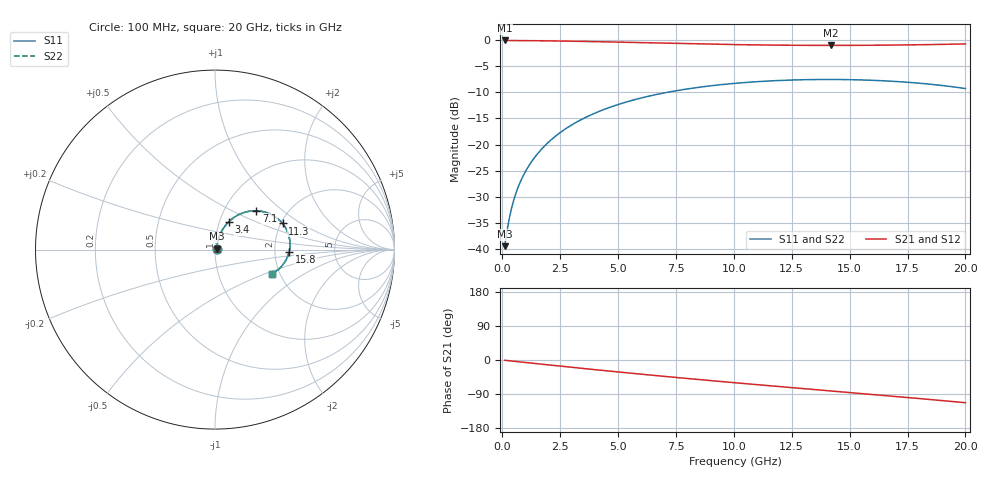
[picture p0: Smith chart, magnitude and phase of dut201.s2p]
! Touchstone file exported from HFSS 2026.1.0
!  File:  C:/ffzhzh/LocalFiles/Ansys_Project_Files/temp_train_TSV_RDL_201_1783060238_18316.aedt
!  Generated:  02:41:34 PM Jul  3, 2026
!  Design:  TSV_RDL
!  Project:  temp_train_TSV_RDL_201_1783060238_18316
! Variables:
!  h_bsmrdl = 3.1um
!  h_ox = 20um
!  h_rdl = 5um
!  h_sub = 96.69um
!  h_tmrdl = 3.95um
!  h_tsv = 96.69um
!  h_via = 3um
!  l_bsmrdl = 175.12um
!  l_sub = 1533.76um
!  l_tmrdl = 129.42um
!  m_sub = 200um
!  pitch = 57.72um
!  r_tsv = 14.91um
!  s_tmrdl = 10um
!  w_bsmrdl = 20.18um
!  w_sub = 500um
!  w_tmrdl = 10.06um
!  x_tsv_center1 = 134.45um
!  x_tsv_center2 = 329.75um
!  x_tsv_center3 = 469.23um
!  x_tsv_center4 = 664.53um
!  x_tsv_center5 = 804.01um
!  x_tsv_center6 = 999.31um
# GHz S MA R 50.000000
! Terminal data exported
! Port[1] = TM_RDL1_1_T1
! Port[2] = TM_RDL5_1_T1
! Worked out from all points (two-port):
!   200 points, 100 MHz to 20 GHz, reference 50 ohm
!   highest |S21| = -0.08 dB at 100 MHz (marker M1); lowest = -1.0 dB at 14.2 GHz (marker M2)
!   |S21| within 3 dB of the highest: start of sweep to end of sweep
!   lowest |S11| = -39.4 dB at 100 MHz (marker M3), VSWR 1.02, Z = 50.9 + j0.579 ohm
!   |S11| at or under -10 dB: start of sweep to 7.127 GHz
!   |S22| runs from -39.4 to -7.5 dB; largest |S21 - S12| = 1.6e-14
!   S11 on the Smith chart (normalised r, x): 100 MHz: 1.02, +0.01; 3.4 GHz: 1.11, +0.35; 7.1 GHz: 1.41, +0.68; 11.3 GHz: 2.04, +0.71; 15.8 GHz: 2.41, -0.06; 20 GHz: 1.81, -0.56
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0.1  0.01068 32.2  0.991 -0.7  0.991 -0.7  0.01068 32.2
! Gamma 0 0 0 0
! Port Impedance 50 0 50 0
0.3  0.01957 59.0  0.9904 -2.0  0.9904 -2.0  0.01957 59.0
0.4  0.02464 63.8  0.9899 -2.7  0.9899 -2.7  0.02464 63.8
0.5  0.02976 66.7  0.9895 -3.3  0.9895 -3.3  0.02976 66.7
0.8  0.04508 70.7  0.9881 -5.3  0.9881 -5.3  0.04508 70.7
1.1  0.06035 71.9  0.9868 -7.2  0.9868 -7.2  0.06035 71.9
1.6  0.08567 71.6  0.9844 -10.4  0.9844 -10.4  0.08567 71.6
2.1  0.1107 70.0  0.9815 -13.6  0.9815 -13.6  0.1107 70.0
2.7  0.14 67.3  0.9772 -17.4  0.9772 -17.4  0.14 67.3
3.4  0.173 63.7  0.9714 -21.8  0.9714 -21.8  0.173 63.7
3.5  0.1776 63.2  0.9704 -22.4  0.9704 -22.4  0.1776 63.2
5  0.2417 54.9  0.9553 -31.5  0.9553 -31.5  0.2417 54.9
6.8  0.3061 44.9  0.9355 -42.1  0.9355 -42.1  0.3061 44.9
7.1  0.3154 43.3  0.9322 -43.8  0.9322 -43.8  0.3154 43.3
10.1  0.3863 27.3  0.9042 -60.3  0.9042 -60.3  0.3863 27.3
11.3  0.4035 21.2  0.8965 -66.7  0.8965 -66.7  0.4035 21.1
13.4  0.4188 10.5  0.8892 -77.6  0.8892 -77.6  0.4188 10.5
14.2  0.4197 6.5  0.8886 -81.7  0.8886 -81.7  0.4197 6.5
15.8  0.4135 -1.5  0.891 -90.0  0.891 -90.0  0.4135 -1.5
16.7  0.4051 -6.1  0.8944 -94.8  0.8944 -94.8  0.4051 -6.1
18.4  0.3796 -14.9  0.9045 -103.9  0.9045 -103.9  0.3796 -14.9
20  0.3436 -23.4  0.9174 -112.7  0.9174 -112.7  0.3436 -23.4
